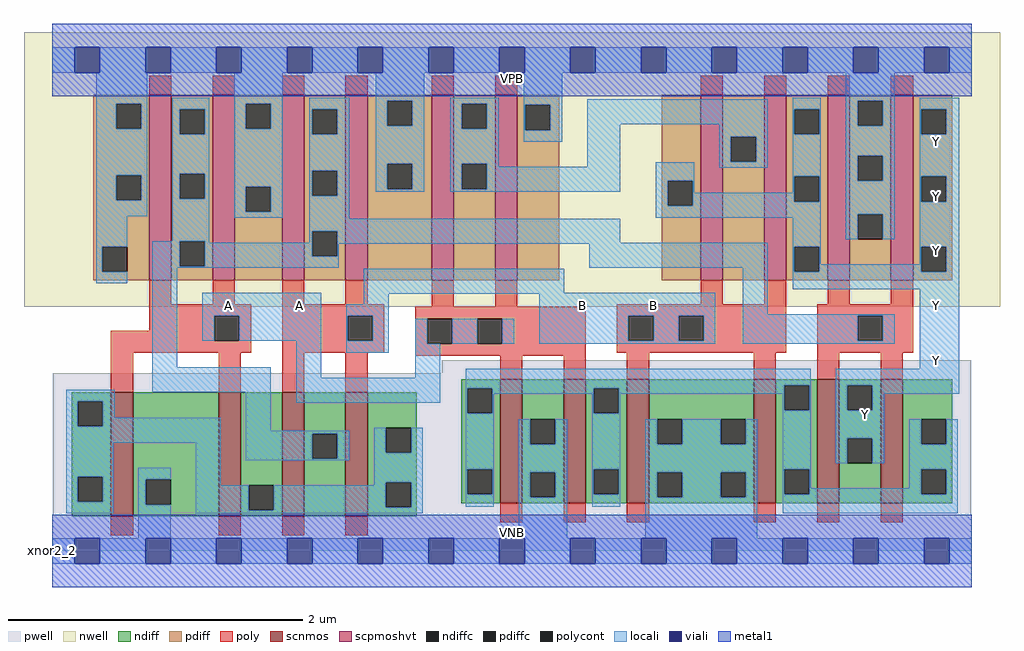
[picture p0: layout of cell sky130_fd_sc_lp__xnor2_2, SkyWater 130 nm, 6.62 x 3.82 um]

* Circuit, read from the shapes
.subckt sky130_fd_sc_lp__xnor2_2 A B VGND VNB VPB VPWR Y
XM1 VGND A n1 VNB sky130_fd_pr__nfet_01v8 w=0.84 l=0.15 m=2
XM2 n2 B n1 VNB sky130_fd_pr__nfet_01v8 w=0.84 l=0.15 m=2
XM3 VGND A n3 VNB sky130_fd_pr__nfet_01v8 w=0.84 l=0.15 m=2
XM4 VGND B n3 VNB sky130_fd_pr__nfet_01v8 w=0.84 l=0.15 m=2
XM5 Y n2 n3 VNB sky130_fd_pr__nfet_01v8 w=0.84 l=0.15 m=2
XM6 n2 A VPWR VPB sky130_fd_pr__pfet_01v8_hvt w=1.26 l=0.15 m=2
XM7 n2 B VPWR VPB sky130_fd_pr__pfet_01v8_hvt w=1.26 l=0.15 m=2
XM8 n4 A VPWR VPB sky130_fd_pr__pfet_01v8_hvt w=1.26 l=0.15 m=2
XM9 n4 B Y VPB sky130_fd_pr__pfet_01v8_hvt w=1.26 l=0.15 m=2
XM10 VPWR n2 Y VPB sky130_fd_pr__pfet_01v8_hvt w=1.26 l=0.15 m=2
.ends

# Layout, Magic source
magic
tech sky130A
magscale 1 2
<< nwell >>
rect -38 331 1286 704
<< pwell >>
rect 529 241 1247 259
rect 1 49 1247 241
rect 0 0 1248 49
<< scnmos >>
rect 80 47 110 215
rect 226 47 256 215
rect 312 47 342 215
rect 398 47 428 215
rect 608 65 638 233
rect 694 65 724 233
rect 780 65 810 233
rect 952 65 982 233
rect 1038 65 1068 233
rect 1124 65 1154 233
<< scpmoshvt >>
rect 132 367 162 619
rect 218 367 248 619
rect 312 367 342 619
rect 398 367 428 619
rect 515 367 545 619
rect 601 367 631 619
rect 880 367 910 619
rect 966 367 996 619
rect 1052 367 1082 619
rect 1138 367 1168 619
<< ndiff >>
rect 555 221 608 233
rect 27 203 80 215
rect 27 169 35 203
rect 69 169 80 203
rect 27 101 80 169
rect 27 67 35 101
rect 69 67 80 101
rect 27 47 80 67
rect 110 97 226 215
rect 110 63 127 97
rect 161 63 226 97
rect 110 47 226 63
rect 256 89 312 215
rect 256 55 267 89
rect 301 55 312 89
rect 256 47 312 55
rect 342 159 398 215
rect 342 125 353 159
rect 387 125 398 159
rect 342 47 398 125
rect 428 167 495 215
rect 428 133 453 167
rect 487 133 495 167
rect 428 93 495 133
rect 428 59 453 93
rect 487 59 495 93
rect 555 187 563 221
rect 597 187 608 221
rect 555 111 608 187
rect 555 77 563 111
rect 597 77 608 111
rect 555 65 608 77
rect 638 179 694 233
rect 638 145 649 179
rect 683 145 694 179
rect 638 107 694 145
rect 638 73 649 107
rect 683 73 694 107
rect 638 65 694 73
rect 724 221 780 233
rect 724 187 735 221
rect 769 187 780 221
rect 724 111 780 187
rect 724 77 735 111
rect 769 77 780 111
rect 724 65 780 77
rect 810 179 952 233
rect 810 145 821 179
rect 855 145 907 179
rect 941 145 952 179
rect 810 107 952 145
rect 810 73 821 107
rect 855 73 907 107
rect 941 73 952 107
rect 810 65 952 73
rect 982 225 1038 233
rect 982 191 993 225
rect 1027 191 1038 225
rect 982 111 1038 191
rect 982 77 993 111
rect 1027 77 1038 111
rect 982 65 1038 77
rect 1068 225 1124 233
rect 1068 191 1079 225
rect 1113 191 1124 225
rect 1068 153 1124 191
rect 1068 119 1079 153
rect 1113 119 1124 153
rect 1068 65 1124 119
rect 1154 179 1221 233
rect 1154 145 1179 179
rect 1213 145 1221 179
rect 1154 111 1221 145
rect 1154 77 1179 111
rect 1213 77 1221 111
rect 1154 65 1221 77
rect 428 47 495 59
<< pdiff >>
rect 56 607 132 619
rect 56 573 87 607
rect 121 573 132 607
rect 56 510 132 573
rect 56 476 87 510
rect 121 476 132 510
rect 56 413 132 476
rect 56 379 68 413
rect 102 379 132 413
rect 56 367 132 379
rect 162 599 218 619
rect 162 565 173 599
rect 207 565 218 599
rect 162 512 218 565
rect 162 478 173 512
rect 207 478 218 512
rect 162 420 218 478
rect 162 386 173 420
rect 207 386 218 420
rect 162 367 218 386
rect 248 607 312 619
rect 248 573 263 607
rect 297 573 312 607
rect 248 494 312 573
rect 248 460 263 494
rect 297 460 312 494
rect 248 367 312 460
rect 342 599 398 619
rect 342 565 353 599
rect 387 565 398 599
rect 342 516 398 565
rect 342 482 353 516
rect 387 482 398 516
rect 342 434 398 482
rect 342 400 353 434
rect 387 400 398 434
rect 342 367 398 400
rect 428 611 515 619
rect 428 577 455 611
rect 489 577 515 611
rect 428 525 515 577
rect 428 491 455 525
rect 489 491 515 525
rect 428 367 515 491
rect 545 607 601 619
rect 545 573 556 607
rect 590 573 601 607
rect 545 525 601 573
rect 545 491 556 525
rect 590 491 601 525
rect 545 367 601 491
rect 631 605 688 619
rect 631 571 642 605
rect 676 571 688 605
rect 631 367 688 571
rect 827 502 880 619
rect 827 468 835 502
rect 869 468 880 502
rect 827 367 880 468
rect 910 562 966 619
rect 910 528 921 562
rect 955 528 966 562
rect 910 367 966 528
rect 996 599 1052 619
rect 996 565 1007 599
rect 1041 565 1052 599
rect 996 508 1052 565
rect 996 474 1007 508
rect 1041 474 1052 508
rect 996 413 1052 474
rect 996 379 1007 413
rect 1041 379 1052 413
rect 996 367 1052 379
rect 1082 611 1138 619
rect 1082 577 1093 611
rect 1127 577 1138 611
rect 1082 536 1138 577
rect 1082 502 1093 536
rect 1127 502 1138 536
rect 1082 457 1138 502
rect 1082 423 1093 457
rect 1127 423 1138 457
rect 1082 367 1138 423
rect 1168 599 1221 619
rect 1168 565 1179 599
rect 1213 565 1221 599
rect 1168 508 1221 565
rect 1168 474 1179 508
rect 1213 474 1221 508
rect 1168 413 1221 474
rect 1168 379 1179 413
rect 1213 379 1221 413
rect 1168 367 1221 379
<< ndiffc >>
rect 35 169 69 203
rect 35 67 69 101
rect 127 63 161 97
rect 267 55 301 89
rect 353 125 387 159
rect 453 133 487 167
rect 453 59 487 93
rect 563 187 597 221
rect 563 77 597 111
rect 649 145 683 179
rect 649 73 683 107
rect 735 187 769 221
rect 735 77 769 111
rect 821 145 855 179
rect 907 145 941 179
rect 821 73 855 107
rect 907 73 941 107
rect 993 191 1027 225
rect 993 77 1027 111
rect 1079 191 1113 225
rect 1079 119 1113 153
rect 1179 145 1213 179
rect 1179 77 1213 111
<< pdiffc >>
rect 87 573 121 607
rect 87 476 121 510
rect 68 379 102 413
rect 173 565 207 599
rect 173 478 207 512
rect 173 386 207 420
rect 263 573 297 607
rect 263 460 297 494
rect 353 565 387 599
rect 353 482 387 516
rect 353 400 387 434
rect 455 577 489 611
rect 455 491 489 525
rect 556 573 590 607
rect 556 491 590 525
rect 642 571 676 605
rect 835 468 869 502
rect 921 528 955 562
rect 1007 565 1041 599
rect 1007 474 1041 508
rect 1007 379 1041 413
rect 1093 577 1127 611
rect 1093 502 1127 536
rect 1093 423 1127 457
rect 1179 565 1213 599
rect 1179 474 1213 508
rect 1179 379 1213 413
<< poly >>
rect 132 619 162 645
rect 218 619 248 645
rect 312 619 342 645
rect 398 619 428 645
rect 515 619 545 645
rect 601 619 631 645
rect 880 619 910 645
rect 966 619 996 645
rect 1052 619 1082 645
rect 1138 619 1168 645
rect 132 335 162 367
rect 218 335 248 367
rect 312 335 342 367
rect 398 335 428 367
rect 132 319 270 335
rect 132 299 220 319
rect 80 285 220 299
rect 254 285 270 319
rect 80 269 270 285
rect 312 319 451 335
rect 515 331 545 367
rect 601 331 631 367
rect 880 335 910 367
rect 966 335 996 367
rect 1052 335 1082 367
rect 1138 335 1168 367
rect 312 285 401 319
rect 435 285 451 319
rect 312 269 451 285
rect 493 315 724 331
rect 493 281 509 315
rect 543 281 577 315
rect 611 281 724 315
rect 80 215 110 269
rect 226 215 256 269
rect 312 215 342 269
rect 398 215 428 269
rect 493 265 724 281
rect 766 319 996 335
rect 766 285 782 319
rect 816 285 850 319
rect 884 285 996 319
rect 766 269 996 285
rect 1038 319 1168 335
rect 1038 285 1093 319
rect 1127 285 1168 319
rect 1038 269 1168 285
rect 608 233 638 265
rect 694 233 724 265
rect 780 233 810 269
rect 952 233 982 269
rect 1038 233 1068 269
rect 1124 233 1154 269
rect 80 21 110 47
rect 226 21 256 47
rect 312 21 342 47
rect 398 21 428 47
rect 608 39 638 65
rect 694 39 724 65
rect 780 39 810 65
rect 952 39 982 65
rect 1038 39 1068 65
rect 1124 39 1154 65
<< polycont >>
rect 220 285 254 319
rect 401 285 435 319
rect 509 281 543 315
rect 577 281 611 315
rect 782 285 816 319
rect 850 285 884 319
rect 1093 285 1127 319
<< locali >>
rect 0 649 31 683
rect 65 649 127 683
rect 161 649 223 683
rect 257 649 319 683
rect 353 649 415 683
rect 449 649 511 683
rect 545 649 607 683
rect 641 649 703 683
rect 737 649 799 683
rect 833 649 895 683
rect 929 649 991 683
rect 1025 649 1087 683
rect 1121 649 1183 683
rect 1217 649 1248 683
rect 60 607 129 649
rect 60 573 87 607
rect 121 573 129 607
rect 60 510 129 573
rect 60 476 87 510
rect 121 476 129 510
rect 60 454 129 476
rect 163 599 213 615
rect 163 565 173 599
rect 207 565 213 599
rect 163 512 213 565
rect 163 478 173 512
rect 207 478 213 512
rect 60 413 102 454
rect 163 420 213 478
rect 247 607 313 649
rect 247 573 263 607
rect 297 573 313 607
rect 247 494 313 573
rect 247 460 263 494
rect 297 460 313 494
rect 247 452 313 460
rect 349 599 403 615
rect 349 565 353 599
rect 387 565 403 599
rect 349 516 403 565
rect 349 482 353 516
rect 387 482 403 516
rect 439 611 505 649
rect 439 577 455 611
rect 489 577 505 611
rect 439 525 505 577
rect 439 491 455 525
rect 489 491 505 525
rect 439 487 505 491
rect 540 607 606 615
rect 540 573 556 607
rect 590 573 606 607
rect 540 525 606 573
rect 640 605 692 649
rect 640 571 642 605
rect 676 571 692 605
rect 640 555 692 571
rect 726 579 971 613
rect 540 491 556 525
rect 590 521 606 525
rect 726 521 771 579
rect 905 562 971 579
rect 905 528 921 562
rect 955 528 971 562
rect 590 491 771 521
rect 540 487 771 491
rect 819 502 871 527
rect 905 520 971 528
rect 1005 599 1043 615
rect 1005 565 1007 599
rect 1041 565 1043 599
rect 60 379 68 413
rect 60 363 102 379
rect 136 386 173 420
rect 207 418 213 420
rect 349 451 403 482
rect 819 468 835 502
rect 869 486 871 502
rect 1005 508 1043 565
rect 1005 486 1007 508
rect 869 474 1007 486
rect 1041 474 1043 508
rect 869 468 1043 474
rect 819 452 1043 468
rect 349 434 771 451
rect 349 418 353 434
rect 207 400 353 418
rect 387 418 771 434
rect 387 417 971 418
rect 387 400 389 417
rect 207 386 389 400
rect 136 384 389 386
rect 729 384 971 417
rect 136 249 170 384
rect 423 350 695 383
rect 204 319 365 350
rect 423 349 900 350
rect 423 335 457 349
rect 204 285 220 319
rect 254 285 365 319
rect 19 203 85 219
rect 136 215 297 249
rect 19 169 35 203
rect 69 181 85 203
rect 69 169 229 181
rect 19 147 229 169
rect 19 101 83 147
rect 19 67 35 101
rect 69 67 83 101
rect 19 51 83 67
rect 117 97 161 113
rect 117 63 127 97
rect 117 17 161 63
rect 195 89 229 147
rect 263 163 297 215
rect 331 235 365 285
rect 399 319 457 335
rect 399 285 401 319
rect 435 285 457 319
rect 661 319 900 349
rect 399 269 457 285
rect 493 281 509 315
rect 543 281 577 315
rect 611 281 627 315
rect 661 285 782 319
rect 816 285 850 319
rect 884 285 900 319
rect 661 281 900 285
rect 937 321 971 384
rect 1005 413 1043 452
rect 1077 611 1143 649
rect 1077 577 1093 611
rect 1127 577 1143 611
rect 1077 536 1143 577
rect 1077 502 1093 536
rect 1127 502 1143 536
rect 1077 457 1143 502
rect 1077 423 1093 457
rect 1127 423 1143 457
rect 1177 599 1231 615
rect 1177 565 1179 599
rect 1213 565 1231 599
rect 1177 508 1231 565
rect 1177 474 1179 508
rect 1213 474 1231 508
rect 1005 379 1007 413
rect 1041 389 1043 413
rect 1177 413 1231 474
rect 1177 389 1179 413
rect 1041 379 1179 389
rect 1213 379 1231 413
rect 1005 355 1231 379
rect 937 319 1143 321
rect 937 285 1093 319
rect 1127 285 1143 319
rect 937 281 1143 285
rect 493 235 527 281
rect 1177 247 1231 355
rect 331 201 527 235
rect 561 225 1029 247
rect 561 221 993 225
rect 561 187 563 221
rect 597 213 735 221
rect 597 187 599 213
rect 263 159 403 163
rect 263 125 353 159
rect 387 125 403 159
rect 263 123 403 125
rect 437 133 453 167
rect 487 133 503 167
rect 437 93 503 133
rect 437 89 453 93
rect 195 55 267 89
rect 301 59 453 89
rect 487 59 503 93
rect 561 111 599 187
rect 733 187 735 213
rect 769 213 993 221
rect 769 187 771 213
rect 561 77 563 111
rect 597 77 599 111
rect 561 60 599 77
rect 633 145 649 179
rect 683 145 699 179
rect 633 107 699 145
rect 633 73 649 107
rect 683 73 699 107
rect 301 55 503 59
rect 195 51 503 55
rect 633 17 699 73
rect 733 111 771 187
rect 991 191 993 213
rect 1027 191 1029 225
rect 733 77 735 111
rect 769 77 771 111
rect 733 60 771 77
rect 805 145 821 179
rect 855 145 907 179
rect 941 145 957 179
rect 805 107 957 145
rect 805 73 821 107
rect 855 73 907 107
rect 941 73 957 107
rect 805 17 957 73
rect 991 111 1029 191
rect 1063 225 1231 247
rect 1063 191 1079 225
rect 1113 213 1231 225
rect 1113 191 1129 213
rect 1063 153 1129 191
rect 1063 119 1079 153
rect 1113 119 1129 153
rect 1163 145 1179 179
rect 1213 145 1229 179
rect 991 77 993 111
rect 1027 85 1029 111
rect 1163 111 1229 145
rect 1163 85 1179 111
rect 1027 77 1179 85
rect 1213 77 1229 111
rect 991 51 1229 77
rect 0 -17 31 17
rect 65 -17 127 17
rect 161 -17 223 17
rect 257 -17 319 17
rect 353 -17 415 17
rect 449 -17 511 17
rect 545 -17 607 17
rect 641 -17 703 17
rect 737 -17 799 17
rect 833 -17 895 17
rect 929 -17 991 17
rect 1025 -17 1087 17
rect 1121 -17 1183 17
rect 1217 -17 1248 17
<< viali >>
rect 31 649 65 683
rect 127 649 161 683
rect 223 649 257 683
rect 319 649 353 683
rect 415 649 449 683
rect 511 649 545 683
rect 607 649 641 683
rect 703 649 737 683
rect 799 649 833 683
rect 895 649 929 683
rect 991 649 1025 683
rect 1087 649 1121 683
rect 1183 649 1217 683
rect 31 -17 65 17
rect 127 -17 161 17
rect 223 -17 257 17
rect 319 -17 353 17
rect 415 -17 449 17
rect 511 -17 545 17
rect 607 -17 641 17
rect 703 -17 737 17
rect 799 -17 833 17
rect 895 -17 929 17
rect 991 -17 1025 17
rect 1087 -17 1121 17
rect 1183 -17 1217 17
<< metal1 >>
rect 0 683 1248 715
rect 0 649 31 683
rect 65 649 127 683
rect 161 649 223 683
rect 257 649 319 683
rect 353 649 415 683
rect 449 649 511 683
rect 545 649 607 683
rect 641 649 703 683
rect 737 649 799 683
rect 833 649 895 683
rect 929 649 991 683
rect 1025 649 1087 683
rect 1121 649 1183 683
rect 1217 649 1248 683
rect 0 617 1248 649
rect 0 17 1248 49
rect 0 -17 31 17
rect 65 -17 127 17
rect 161 -17 223 17
rect 257 -17 319 17
rect 353 -17 415 17
rect 449 -17 511 17
rect 545 -17 607 17
rect 641 -17 703 17
rect 737 -17 799 17
rect 833 -17 895 17
rect 929 -17 991 17
rect 1025 -17 1087 17
rect 1121 -17 1183 17
rect 1217 -17 1248 17
rect 0 -49 1248 -17
<< labels >>
flabel pwell s 0 0 1248 49 0 FreeSans 200 0 0 0 VNB
port 4 nsew ground bidirectional
flabel nwell s 0 617 1248 666 0 FreeSans 200 0 0 0 VPB
port 5 nsew power bidirectional
rlabel comment s 0 0 0 0 4 xnor2_2
flabel metal1 s 0 617 1248 666 0 FreeSans 340 0 0 0 VPWR
port 6 nsew power bidirectional
flabel metal1 s 0 0 1248 49 0 FreeSans 340 0 0 0 VGND
port 3 nsew ground bidirectional
flabel locali s 1087 168 1121 202 0 FreeSans 340 0 0 0 Y
port 7 nsew signal output
flabel locali s 1183 242 1217 276 0 FreeSans 340 0 0 0 Y
port 7 nsew signal output
flabel locali s 703 316 737 350 0 FreeSans 340 0 0 0 B
port 2 nsew signal input
flabel locali s 223 316 257 350 0 FreeSans 340 0 0 0 A
port 1 nsew signal input
flabel locali s 319 316 353 350 0 FreeSans 340 0 0 0 A
port 1 nsew signal input
flabel locali s 799 316 833 350 0 FreeSans 340 0 0 0 B
port 2 nsew signal input
flabel locali s 1183 538 1217 572 0 FreeSans 340 0 0 0 Y
port 7 nsew signal output
flabel locali s 1183 464 1217 498 0 FreeSans 340 0 0 0 Y
port 7 nsew signal output
flabel locali s 1183 390 1217 424 0 FreeSans 340 0 0 0 Y
port 7 nsew signal output
flabel locali s 1183 316 1217 350 0 FreeSans 340 0 0 0 Y
port 7 nsew signal output
<< properties >>
string LEFsite unit
string LEFclass CORE
string FIXED_BBOX 0 0 1248 666
string GDS_FILE $PDKPATH/libs.ref/sky130_fd_sc_lp/gds/sky130_fd_sc_lp.gds
string LEFsymmetry X Y R90
string GDS_END 4370572
string GDS_START 4360050
<< end >>
